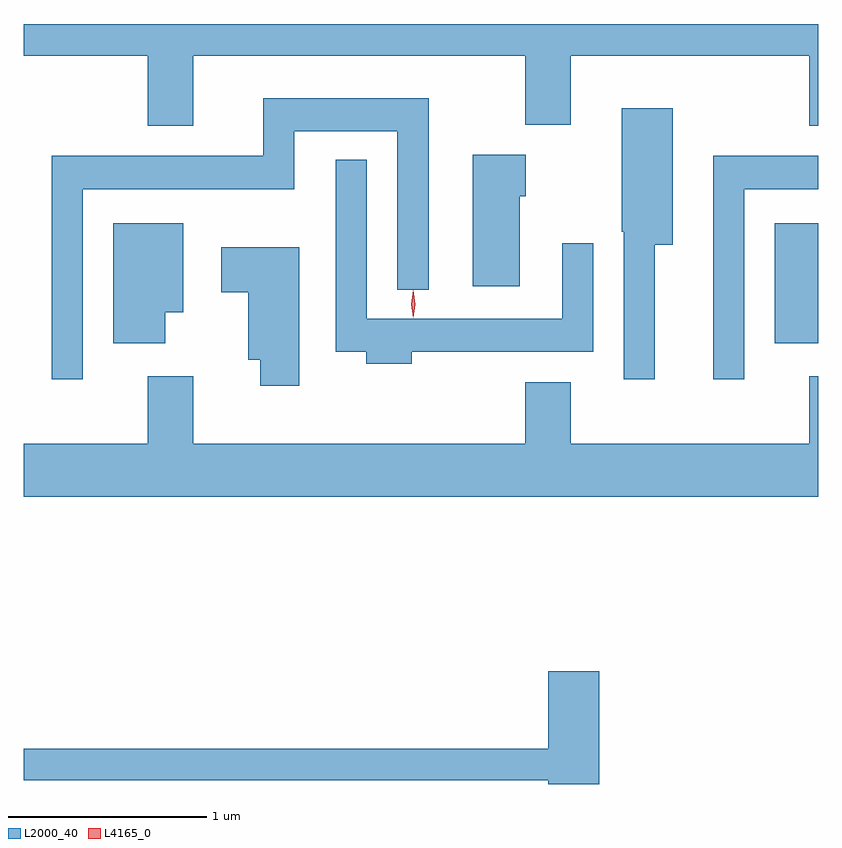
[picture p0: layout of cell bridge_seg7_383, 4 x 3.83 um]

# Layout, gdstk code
import gdstk
lib = gdstk.Library(unit=1e-6, precision=1e-09)
def R(c, l, rs):  # rectangles x0, y0, x1, y1
    for r in rs: c.add(gdstk.rectangle(r[:2], r[2:], *l))
def P(c, l, *ps):  # polygons
    for p in ps: c.add(gdstk.Polygon(p, *l))
L2000_40 = (2000, 40)
L4165_0 = (4165, 0)

bridge_seg7_383 = lib.new_cell('bridge_seg7_383')
R(bridge_seg7_383, L2000_40, [(1144.736,1743.951,1144.956,1744.554)])
P(bridge_seg7_383, L2000_40, [(1141.809,1745.396),(1143.481,1745.396),(1143.481,1745.051),(1143.709,1745.051),(1143.709,1745.396),(1144.911,1745.396),(1144.911,1745.046),(1144.956,1745.046),(1144.956,1745.557),(1140.956,1745.557),(1140.956,1745.396),(1141.581,1745.396),(1141.581,1745.046),(1141.809,1745.046)],
  [(1141.254,1744.726),(1142.319,1744.726),(1142.319,1745.016),(1142.836,1745.016),(1142.836,1744.218),(1142.994,1744.218),(1142.994,1745.184),(1142.161,1745.184),(1142.161,1744.894),(1141.096,1744.894),(1141.096,1743.768),(1141.254,1743.768)],
  [(1144.134,1744.446),(1144.224,1744.446),(1144.224,1745.134),(1143.966,1745.134),(1143.966,1744.51),(1143.976,1744.51),(1143.976,1743.768),(1144.134,1743.768)],
  [(1143.454,1744.691),(1143.484,1744.691),(1143.484,1744.899),(1143.216,1744.899),(1143.216,1744.236),(1143.454,1744.236)],
  [(1144.584,1744.726),(1144.956,1744.726),(1144.956,1744.894),(1144.426,1744.894),(1144.426,1743.768),(1144.584,1743.768)],
  [(1142.909,1743.906),(1143.824,1743.906),(1143.824,1744.453),(1143.666,1744.453),(1143.666,1744.074),(1142.684,1744.074),(1142.684,1744.873),(1142.526,1744.873),(1142.526,1743.906),(1142.681,1743.906),(1142.681,1743.846),(1142.909,1743.846)],
  [(1141.669,1744.106),(1141.759,1744.106),(1141.759,1744.554),(1141.406,1744.554),(1141.406,1743.951),(1141.669,1743.951)],
  [(1142.344,1744.434),(1141.951,1744.434),(1141.951,1744.206),(1142.086,1744.206),(1142.086,1743.866),(1142.146,1743.866),(1142.146,1743.736),(1142.344,1743.736)],
  [(1144.956,1743.784),(1144.911,1743.784),(1144.911,1743.444),(1143.709,1743.444),(1143.709,1743.754),(1143.481,1743.754),(1143.481,1743.444),(1141.809,1743.444),(1141.809,1743.784),(1141.581,1743.784),(1141.581,1743.444),(1140.956,1743.444),(1140.956,1743.176),(1144.956,1743.176)],
  [(1143.854,1742.299),(1143.596,1742.299),(1143.596,1741.909),(1140.956,1741.909),(1140.956,1741.751),(1143.596,1741.751),(1143.596,1741.731),(1143.854,1741.731)])
P(bridge_seg7_383, L4165_0, [(1142.916,1744.077),(1142.916,1744.078),(1142.906,1744.147),(1142.916,1744.216),(1142.916,1744.216),(1142.917,1744.216),(1142.926,1744.147),(1142.917,1744.078)],
  [(1142.917,1744.079),(1142.917,1744.08),(1142.907,1744.146),(1142.917,1744.212),(1142.917,1744.213),(1142.918,1744.212),(1142.927,1744.146),(1142.918,1744.08)])

lib.write_gds('bridge_seg7_383.gds')
